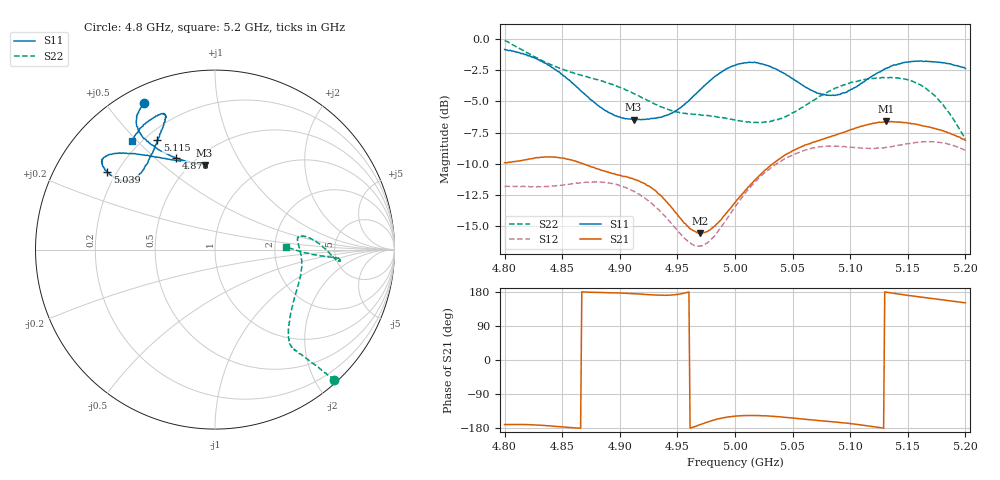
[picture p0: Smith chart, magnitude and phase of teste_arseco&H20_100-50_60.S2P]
! Network Analyzer HP8722D
! Hewlett-Packard
! Data name: Linha & Wilkinson
! Saver's name: Rodrigo Anjos
! Comments: Teste da utilização de aquisição
! continua pelo VNA HP8722D
! Time and date: 6/5/2025 13:04
!  Frequency  S11  S21  S12  S22
# HZ  S  MA R 50
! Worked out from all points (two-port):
!   401 points, 4.8 GHz to 5.2 GHz, reference 50 ohm
!   highest |S21| = -6.61 dB at 5.131 GHz (marker M1); lowest = -15.6 dB at 4.97 GHz (marker M2)
!   |S21| within 3 dB of the highest: 4.822 GHz to 4.853 GHz (31.34 MHz wide, 0.648 % of centre); 5.039 GHz to end of sweep
!   lowest |S11| = -6.5 dB at 4.912 GHz (marker M3), VSWR 2.80, Z = 28.9 + j35.1 ohm
!   |S11| at or under -10 dB: nowhere
!   |S22| runs from -8.0 to -0.1 dB; largest |S21 - S12| = 0.83
!   S11 on the Smith chart (normalised r, x): 4.8 GHz: 0.07, +0.63; 4.878 GHz: 0.40, +0.59; 5.039 GHz: 0.16, +0.31; 5.115 GHz: 0.25, +0.58; 5.2 GHz: 0.17, +0.48
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4.8e9  0.9059 115.7  0.3194 -170.4  0.257 -86.0  0.9845 -47.5
4.834e9  0.8033 122.4  0.3362 -172.6  0.256 -76.8  0.8113 -49.7
4.846e9  0.7415 122.7  0.3351 -175.6  0.2589 -72.8  0.7682 -50.4
4.867e9  0.6145 118.0  0.3177 179.8  0.2656 -67.3  0.7139 -51.4
4.878e9  0.5552 113.1  0.3053 178.5  0.2677 -65.8  0.6906 -51.9
4.912e9  0.4743 97.0  0.2744 175.0  0.2453 -67.8  0.6037 -47.4
4.934e9  0.4848 99.1  0.2392 171.1  0.2071 -69.4  0.5385 -37.5
4.947e9  0.5096 107.2  0.2054 172.0  0.1775 -66.8  0.5134 -29.0
4.97e9  0.6262 124.1  0.1665 -170.4  0.1485 -46.5  0.4958 -14.4
4.981e9  0.6977 130.0  0.1761 -159.2  0.1605 -33.8  0.4883 -8.7
5e9  0.7835 137.2  0.2213 -148.3  0.2125 -21.4  0.4723 -0.3
5.018e9  0.8036 141.7  0.274 -146.5  0.2694 -18.2  0.4627 5.9
5.039e9  0.7397 144.2  0.3313 -150.0  0.3218 -18.3  0.4797 9.0
5.067e9  0.6208 142.0  0.3846 -158.1  0.3653 -20.5  0.5632 4.6
5.089e9  0.5963 132.4  0.4143 -164.2  0.3715 -23.7  0.6385 -1.9
5.115e9  0.6892 117.8  0.4534 -173.7  0.3642 -26.6  0.6897 -5.3
5.131e9  0.7622 111.9  0.467 179.2  0.3674 -28.2  0.6995 -5.0
5.134e9  0.7686 111.1  0.4649 177.7  0.3693 -28.7  0.6993 -4.8
5.148e9  0.8064 110.5  0.4622 171.5  0.3788 -31.3  0.6892 -4.2
5.163e9  0.8117 113.1  0.4481 165.3  0.3867 -35.6  0.6448 -3.7
5.18e9  0.8015 118.9  0.429 158.9  0.3836 -40.9  0.548 -2.9
5.2e9  0.7595 127.4  0.3919 150.8  0.3582 -46.3  0.3965 2.4
